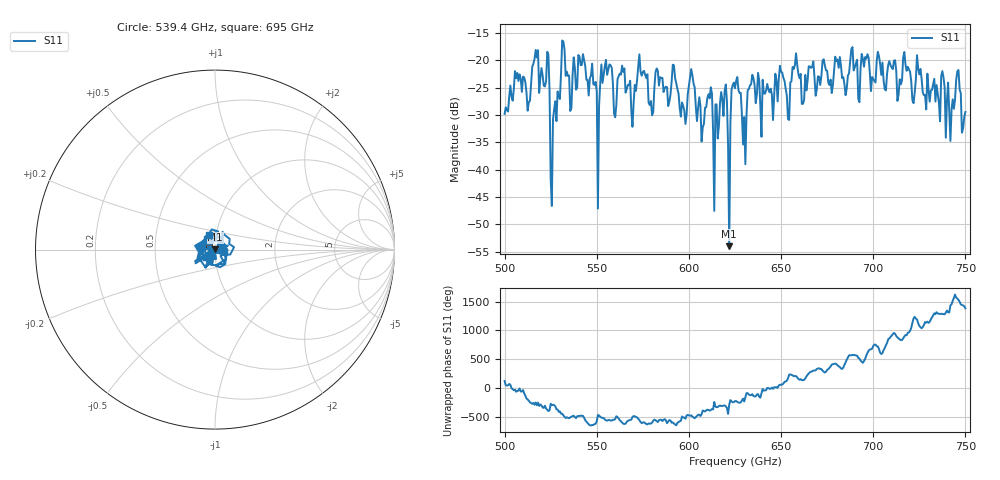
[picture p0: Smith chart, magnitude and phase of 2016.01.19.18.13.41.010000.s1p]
!Created with skrf (http://scikit-rf.org).
# GHz S RI R 50.0
!freq ReS11 ImS11
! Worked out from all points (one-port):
!   401 points, 500 GHz to 750 GHz, reference 50 ohm
!   lowest |S11| = -54.0 dB at 621.9 GHz (marker M1), VSWR 1.00, Z = 50 + j0.193 ohm
!   |S11| at or under -10 dB: start of sweep to end of sweep
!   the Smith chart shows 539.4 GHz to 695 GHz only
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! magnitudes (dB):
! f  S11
! 500 GHz  -29.8
! 506.9 GHz  -22.3
! 513.1 GHz  -27.7
! 516.9 GHz  -18.1
! 523.1 GHz  -18.5
! 526.2 GHz  -30.8
! 531.2 GHz  -16.4
! 548.1 GHz  -24.4
! 550 GHz  -25.8
! 553.8 GHz  -22.6
! 562.5 GHz  -22.4
! 593.8 GHz  -25.3
! 601.9 GHz  -22.8
! 608.1 GHz  -31.7
! 611.2 GHz  -27.0
! 614.4 GHz  -28.1
! 618.8 GHz  -30.2
! 621.9 GHz  -54.0
! 625 GHz  -25.1
! 630 GHz  -30.4
! 633.8 GHz  -24.4
! 653.8 GHz  -30.8
! 656.2 GHz  -21.2
! 687.5 GHz  -20.2
! 718.8 GHz  -21.2
! 740.6 GHz  -24.1
! 746.2 GHz  -21.8
! 750 GHz  -29.5
